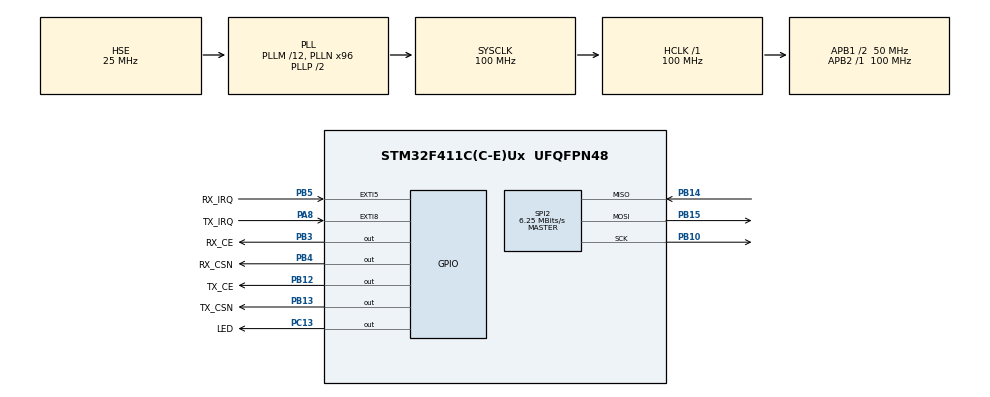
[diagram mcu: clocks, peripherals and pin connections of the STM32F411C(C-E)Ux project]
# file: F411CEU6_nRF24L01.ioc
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Mcu.Family=STM32F4
Mcu.Name=STM32F411C(C-E)Ux
Mcu.Package=UFQFPN48
NVIC.EXTI9_5_IRQn=true\:0\:0\:false\:false\:true\:true\:true\:true
NVIC.PriorityGroup=NVIC_PRIORITYGROUP_4
PA13.Mode=Serial_Wire
PA13.Signal=SYS_JTMS-SWDIO
PA14.Mode=Serial_Wire
PA14.Signal=SYS_JTCK-SWCLK
PA8.GPIO_Label=TX_IRQ
PA8.GPIO_ModeDefaultEXTI=GPIO_MODE_IT_FALLING
PA8.Signal=GPXTI8
PB10.Mode=Full_Duplex_Master
PB10.Signal=SPI2_SCK
PB12.GPIO_Label=TX_CE
PB12.GPIO_Speed=GPIO_SPEED_FREQ_HIGH
PB12.Signal=GPIO_Output
PB13.GPIO_Label=TX_CSN
PB13.GPIO_Speed=GPIO_SPEED_FREQ_HIGH
PB13.PinState=GPIO_PIN_SET
PB13.Signal=GPIO_Output
PB14.Mode=Full_Duplex_Master
PB14.Signal=SPI2_MISO
PB15.Mode=Full_Duplex_Master
PB15.Signal=SPI2_MOSI
PB3.GPIO_Label=RX_CE
PB3.GPIO_Speed=GPIO_SPEED_FREQ_HIGH
PB3.PinState=GPIO_PIN_RESET
PB3.Signal=GPIO_Output
PB4.GPIO_Label=RX_CSN
PB4.GPIO_Speed=GPIO_SPEED_FREQ_HIGH
PB4.PinState=GPIO_PIN_SET
PB4.Signal=GPIO_Output
PB5.GPIO_Label=RX_IRQ
PB5.GPIO_ModeDefaultEXTI=GPIO_MODE_IT_FALLING
PB5.Signal=GPXTI5
PC13-ANTI_TAMP.GPIO_Label=LED
PC13-ANTI_TAMP.Signal=GPIO_Output
PH0\ -\ OSC_IN.Mode=HSE-External-Oscillator
PH0\ -\ OSC_IN.Signal=RCC_OSC_IN
PH1\ -\ OSC_OUT.Mode=HSE-External-Oscillator
PH1\ -\ OSC_OUT.Signal=RCC_OSC_OUT
ProjectManager.HeapSize=0x200
ProjectManager.StackSize=0x400
ProjectManager.TargetToolchain=STM32CubeIDE
RCC.48MHZClocksFreq_Value=50000000
RCC.AHBFreq_Value=100000000
RCC.APB1CLKDivider=RCC_HCLK_DIV2
RCC.APB1Freq_Value=50000000
RCC.APB1TimFreq_Value=100000000
RCC.APB2Freq_Value=100000000
RCC.APB2TimFreq_Value=100000000
RCC.CortexFreq_Value=100000000
RCC.HCLKFreq_Value=100000000
RCC.HSE_VALUE=25000000
RCC.HSI_VALUE=16000000
RCC.LSE_VALUE=32768
RCC.PLLM=12
RCC.PLLN=96
RCC.PLLSourceVirtual=RCC_PLLSOURCE_HSE
RCC.SYSCLKFreq_VALUE=100000000
RCC.SYSCLKSource=RCC_SYSCLKSOURCE_PLLCLK
RCC.VCOOutputFreq_Value=200000000
SPI2.BaudRatePrescaler=SPI_BAUDRATEPRESCALER_8
SPI2.CalculateBaudRate=6.25 MBits/s
SPI2.Direction=SPI_DIRECTION_2LINES
SPI2.Mode=SPI_MODE_MASTER
SPI2.VirtualType=VM_MASTER
board=custom

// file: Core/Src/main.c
/* USER CODE BEGIN Header */
/**
  ******************************************************************************
  * @file           : main.c
  * @brief          : Main program body
  ******************************************************************************
  * @attention
  *
  * Copyright (c) 2024 STMicroelectronics.
  * All rights reserved.
  *
  * This software is licensed under terms that can be found in the LICENSE file
  * in the root directory of this software component.
  * If no LICENSE file comes with this software, it is provided AS-IS.
  *
  ******************************************************************************
  */
/* USER CODE END Header */
#include "main.h"

/* USER CODE BEGIN Includes */
#include "nrf24l01p.h"
/* USER CODE END Includes */

SPI_HandleTypeDef hspi2;

/* USER CODE BEGIN PV */
// data array to be sent
uint8_t tx_data[NRF24L01P_PAYLOAD_LENGTH] = {0, 1, 2, 3, 4, 5, 6, 7};

// data array to be read
uint8_t rx_data[NRF24L01P_PAYLOAD_LENGTH] = { 0, };

#define TX_IRQ_PIN_PORT            GPIOA
#define TX_IRQ_PIN_NUMBER          GPIO_PIN_8
#define RX_IRQ_PIN_PORT            GPIOB
#define RX_IRQ_PIN_NUMBER          GPIO_PIN_5

// NRF instance for transmitter
nRF24L01P nrf_tx = { &hspi2, {GPIOB, GPIO_PIN_13}, {GPIOB, GPIO_PIN_12}, 8 };

// NRF instance for receiver
nRF24L01P nrf_rx = { &hspi2, {GPIOB, GPIO_PIN_4}, {GPIOB, GPIO_PIN_3}, 8 };
/* USER CODE END PV */

void SystemClock_Config(void);
static void MX_GPIO_Init(void);
static void MX_SPI2_Init(void);

/* USER CODE BEGIN 0 */
int j = 0;

void HAL_GPIO_EXTI_Callback(uint16_t GPIO_Pin)
{
	if(GPIO_Pin == TX_IRQ_PIN_NUMBER) {
		nrf24l01p_tx_irq(&nrf_tx); // clear interrupt flag

		HAL_GPIO_WritePin(LED_GPIO_Port, LED_Pin, j == 0 ? GPIO_PIN_SET : GPIO_PIN_RESET);
		j = 1 - j;
	} else 	if(GPIO_Pin == RX_IRQ_PIN_NUMBER) {
		nrf24l01p_rx_receive(&nrf_rx, rx_data); // read data when data ready flag is set
	}
}
/* USER CODE END 0 */

int main(void)
{

  /* MCU Configuration--------------------------------------------------------*/

  /* Reset of all peripherals, Initializes the Flash interface and the Systick. */
  HAL_Init();

  /* Configure the system clock */
  SystemClock_Config();

  /* Initialize all configured peripherals */
  MX_GPIO_Init();
  MX_SPI2_Init();
  /* USER CODE BEGIN 2 */
  nrf24l01p_tx_init(&nrf_tx, 2500, _1Mbps);
  nrf24l01p_rx_init(&nrf_rx, 2500, _1Mbps);

  /* USER CODE END 2 */

  /* Infinite loop */
  while (1)
  {

    /* USER CODE BEGIN 3 */
      // change tx datas
      for(int i= 0; i < 8; i++)
          tx_data[i]++;

      // transmit
      nrf24l01p_tx_transmit(&nrf_tx, tx_data);
      HAL_Delay(100);
  }
  /* USER CODE END 3 */
}

void SystemClock_Config(void)
{
  RCC_OscInitTypeDef RCC_OscInitStruct = {0};
  RCC_ClkInitTypeDef RCC_ClkInitStruct = {0};

  /** Configure the main internal regulator output voltage
  */
  __HAL_RCC_PWR_CLK_ENABLE();
  __HAL_PWR_VOLTAGESCALING_CONFIG(PWR_REGULATOR_VOLTAGE_SCALE1);

  /** Initializes the RCC Oscillators according to the specified parameters
  * in the RCC_OscInitTypeDef structure.
  */
  RCC_OscInitStruct.OscillatorType = RCC_OSCILLATORTYPE_HSE;
  RCC_OscInitStruct.HSEState = RCC_HSE_ON;
  RCC_OscInitStruct.PLL.PLLState = RCC_PLL_ON;
  RCC_OscInitStruct.PLL.PLLSource = RCC_PLLSOURCE_HSE;
  RCC_OscInitStruct.PLL.PLLM = 12;
  RCC_OscInitStruct.PLL.PLLN = 96;
  RCC_OscInitStruct.PLL.PLLP = RCC_PLLP_DIV2;
  RCC_OscInitStruct.PLL.PLLQ = 4;
  if (HAL_RCC_OscConfig(&RCC_OscInitStruct) != HAL_OK)
  {
    Error_Handler();
  }

  /** Initializes the CPU, AHB and APB buses clocks
  */
  RCC_ClkInitStruct.ClockType = RCC_CLOCKTYPE_HCLK|RCC_CLOCKTYPE_SYSCLK
                              |RCC_CLOCKTYPE_PCLK1|RCC_CLOCKTYPE_PCLK2;
  RCC_ClkInitStruct.SYSCLKSource = RCC_SYSCLKSOURCE_PLLCLK;
  RCC_ClkInitStruct.AHBCLKDivider = RCC_SYSCLK_DIV1;
  RCC_ClkInitStruct.APB1CLKDivider = RCC_HCLK_DIV2;
  RCC_ClkInitStruct.APB2CLKDivider = RCC_HCLK_DIV1;

  if (HAL_RCC_ClockConfig(&RCC_ClkInitStruct, FLASH_LATENCY_3) != HAL_OK)
  {
    Error_Handler();
  }
}

static void MX_SPI2_Init(void)
{

  /* SPI2 parameter configuration*/
  hspi2.Instance = SPI2;
  hspi2.Init.Mode = SPI_MODE_MASTER;
  hspi2.Init.Direction = SPI_DIRECTION_2LINES;
  hspi2.Init.DataSize = SPI_DATASIZE_8BIT;
  hspi2.Init.CLKPolarity = SPI_POLARITY_LOW;
  hspi2.Init.CLKPhase = SPI_PHASE_1EDGE;
  hspi2.Init.NSS = SPI_NSS_SOFT;
  hspi2.Init.BaudRatePrescaler = SPI_BAUDRATEPRESCALER_8;
  hspi2.Init.FirstBit = SPI_FIRSTBIT_MSB;
  hspi2.Init.TIMode = SPI_TIMODE_DISABLE;
  hspi2.Init.CRCCalculation = SPI_CRCCALCULATION_DISABLE;
  hspi2.Init.CRCPolynomial = 10;
  if (HAL_SPI_Init(&hspi2) != HAL_OK)
  {
    Error_Handler();
  }

}

static void MX_GPIO_Init(void)
{
  GPIO_InitTypeDef GPIO_InitStruct = {0};

  /* GPIO Ports Clock Enable */
  __HAL_RCC_GPIOC_CLK_ENABLE();
  __HAL_RCC_GPIOH_CLK_ENABLE();
  __HAL_RCC_GPIOB_CLK_ENABLE();
  __HAL_RCC_GPIOA_CLK_ENABLE();

  /*Configure GPIO pin Output Level */
  HAL_GPIO_WritePin(LED_GPIO_Port, LED_Pin, GPIO_PIN_RESET);

  /*Configure GPIO pin Output Level */
  HAL_GPIO_WritePin(GPIOB, TX_CE_Pin|RX_CE_Pin, GPIO_PIN_RESET);

  /*Configure GPIO pin Output Level */
  HAL_GPIO_WritePin(GPIOB, TX_CSN_Pin|RX_CSN_Pin, GPIO_PIN_SET);

  /*Configure GPIO pin : LED_Pin */
  GPIO_InitStruct.Pin = LED_Pin;
  GPIO_InitStruct.Mode = GPIO_MODE_OUTPUT_PP;
  GPIO_InitStruct.Pull = GPIO_NOPULL;
  GPIO_InitStruct.Speed = GPIO_SPEED_FREQ_LOW;
  HAL_GPIO_Init(LED_GPIO_Port, &GPIO_InitStruct);

  /*Configure GPIO pins : TX_CE_Pin TX_CSN_Pin RX_CE_Pin RX_CSN_Pin */
  GPIO_InitStruct.Pin = TX_CE_Pin|TX_CSN_Pin|RX_CE_Pin|RX_CSN_Pin;
  GPIO_InitStruct.Mode = GPIO_MODE_OUTPUT_PP;
  GPIO_InitStruct.Pull = GPIO_NOPULL;
  GPIO_InitStruct.Speed = GPIO_SPEED_FREQ_HIGH;
  HAL_GPIO_Init(GPIOB, &GPIO_InitStruct);

  /*Configure GPIO pin : TX_IRQ_Pin */
  GPIO_InitStruct.Pin = TX_IRQ_Pin;
  GPIO_InitStruct.Mode = GPIO_MODE_IT_FALLING;
  GPIO_InitStruct.Pull = GPIO_NOPULL;
  HAL_GPIO_Init(TX_IRQ_GPIO_Port, &GPIO_InitStruct);

  /*Configure GPIO pin : RX_IRQ_Pin */
  GPIO_InitStruct.Pin = RX_IRQ_Pin;
  GPIO_InitStruct.Mode = GPIO_MODE_IT_FALLING;
  GPIO_InitStruct.Pull = GPIO_NOPULL;
  HAL_GPIO_Init(RX_IRQ_GPIO_Port, &GPIO_InitStruct);

  /* EXTI interrupt init*/
  HAL_NVIC_SetPriority(EXTI9_5_IRQn, 0, 0);
  HAL_NVIC_EnableIRQ(EXTI9_5_IRQn);

}

void Error_Handler(void)
{
  __disable_irq();
  while (1)
  {
  }
}
